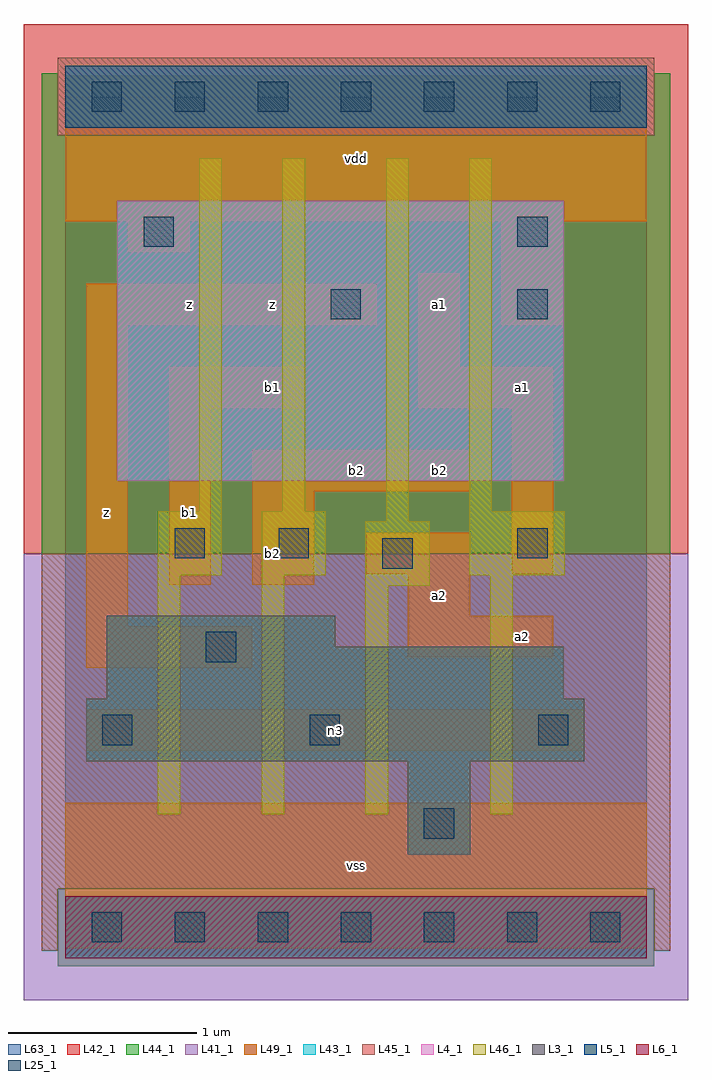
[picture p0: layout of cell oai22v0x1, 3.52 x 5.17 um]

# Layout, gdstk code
import gdstk
lib = gdstk.Library(unit=1e-6, precision=1e-09)
def R(c, l, rs):  # rectangles x0, y0, x1, y1
    for r in rs: c.add(gdstk.rectangle(r[:2], r[2:], *l))
def A(c, l, x, y, w, h, nx, ny, dx, dy):  # array of equal rectangles
    R(c, l, [(x+i*dx, y+j*dy, x+i*dx+w, y+j*dy+h) for i in range(nx) for j in range(ny)])
L3_1 = (3, 1)
L4_1 = (4, 1)
L5_1 = (5, 1)
L6_1 = (6, 1)
L25_1 = (25, 1)
L41_1 = (41, 1)
L42_1 = (42, 1)
L43_1 = (43, 1)
L44_1 = (44, 1)
L45_1 = (45, 1)
L46_1 = (46, 1)
L49_1 = (49, 1)
L63_1 = (63, 1)

oai22v0x1 = lib.new_cell('oai22v0x1')
R(oai22v0x1, L3_1, [(1.815,0.385,2.145,0.88), (0.11,0.88,2.75,1.21), (0.22,1.21,2.64,1.485), (0.22,1.485,1.43,1.65)])
R(oai22v0x1, L4_1, [(0.275,2.365,2.64,3.85)])
R(oai22v0x1, L5_1, [(0,4.235,3.08,4.565)])
R(oai22v0x1, L6_1, [(0,-0.165,3.08,0.165)])
A(oai22v0x1, L25_1, 0.14, -0.08, 0.16, 0.16, 7, 2, 0.44, 4.4)
R(oai22v0x1, L25_1, [(1.9,0.47,2.06,0.63), (0.195,0.965,0.355,1.125), (1.295,0.965,1.455,1.125), (2.505,0.965,2.665,1.125), (0.745,1.405,0.905,1.565), (1.68,1.9,1.84,2.06), (0.58,1.955,0.74,2.115), (1.13,1.955,1.29,2.115), (2.395,1.955,2.555,2.115), (1.405,3.22,1.565,3.38), (2.395,3.22,2.555,3.38), (0.415,3.605,0.575,3.765), (2.395,3.605,2.555,3.765)])
R(oai22v0x1, L41_1, [(-0.22,-0.385,3.3,1.98)])
R(oai22v0x1, L42_1, [(-0.22,1.98,3.3,4.785)])
R(oai22v0x1, L43_1, [(0,-0.165,3.08,0.165), (1.815,0.385,2.145,0.88), (0.11,0.88,2.75,1.21), (0.22,1.21,2.64,1.485), (0.22,1.485,1.43,1.65), (0.275,2.365,2.64,3.85), (0,4.235,3.08,4.565)])
R(oai22v0x1, L44_1, [(-0.04,-0.205,3.12,0.205), (-0.125,1.98,3.205,4.195), (-0.125,4.195,-0.04,4.525), (3.12,4.195,3.205,4.525)])
R(oai22v0x1, L45_1, [(-0.125,-0.125,-0.04,0.205), (3.12,-0.125,3.205,0.205), (-0.125,0.205,3.205,1.98), (-0.04,4.195,3.12,4.605)])
R(oai22v0x1, L46_1, [(0.49,0.6,0.61,1.865), (1.04,0.6,1.16,1.865), (1.59,0.6,1.71,1.81), (2.25,0.6,2.37,1.865), (1.59,1.81,1.93,2.15), (0.49,1.865,0.83,2.205), (1.04,1.865,1.38,2.205), (2.14,1.865,2.645,2.205), (1.7,2.15,1.82,4.075), (0.71,2.205,0.83,4.075), (1.15,2.205,1.27,4.075), (2.14,2.205,2.26,4.075)])
R(oai22v0x1, L49_1, [(0,-0.11,3.08,0.66), (0.11,0.935,2.75,1.155), (0.11,1.375,0.99,1.595), (1.815,1.43,2.585,1.65), (0.11,1.595,0.33,3.19), (1.815,1.65,2.145,1.87), (0.55,1.815,0.77,2.75), (0.99,1.815,1.32,2.31), (1.595,1.87,2.145,2.09), (2.365,1.87,2.585,2.75), (0.99,2.31,2.145,2.53), (0.55,2.75,1.265,2.97), (1.87,2.75,2.585,2.97), (1.87,2.97,2.09,3.465), (0.11,3.19,1.65,3.41), (2.31,3.19,2.64,3.74), (0.33,3.575,0.66,3.74), (0,3.74,3.08,4.51)])
R(oai22v0x1, L63_1, [(0,0,3.08,4.4)])
oai22v0x1.add(gdstk.Label('z', (0.22,2.2), layer=49, texttype=1))
oai22v0x1.add(gdstk.Label('b1', (0.66,2.2), layer=49, texttype=1))
oai22v0x1.add(gdstk.Label('z', (0.66,3.3), layer=49, texttype=1))
oai22v0x1.add(gdstk.Label('vss', (1.54,0.33), layer=49, texttype=1))
oai22v0x1.add(gdstk.Label('b2', (1.1,1.98), layer=49, texttype=1))
oai22v0x1.add(gdstk.Label('b2', (1.54,2.42), layer=49, texttype=1))
oai22v0x1.add(gdstk.Label('b1', (1.1,2.86), layer=49, texttype=1))
oai22v0x1.add(gdstk.Label('z', (1.1,3.3), layer=49, texttype=1))
oai22v0x1.add(gdstk.Label('vdd', (1.54,4.07), layer=49, texttype=1))
oai22v0x1.add(gdstk.Label('a2', (2.42,1.54), layer=49, texttype=1))
oai22v0x1.add(gdstk.Label('a2', (1.98,1.76), layer=49, texttype=1))
oai22v0x1.add(gdstk.Label('b2', (1.98,2.42), layer=49, texttype=1))
oai22v0x1.add(gdstk.Label('a1', (2.42,2.86), layer=49, texttype=1))
oai22v0x1.add(gdstk.Label('a1', (1.98,3.3), layer=49, texttype=1))
oai22v0x1.add(gdstk.Label('n3', (1.43,1.045), layer=49, texttype=1))

lib.write_gds('oai22v0x1.gds')
